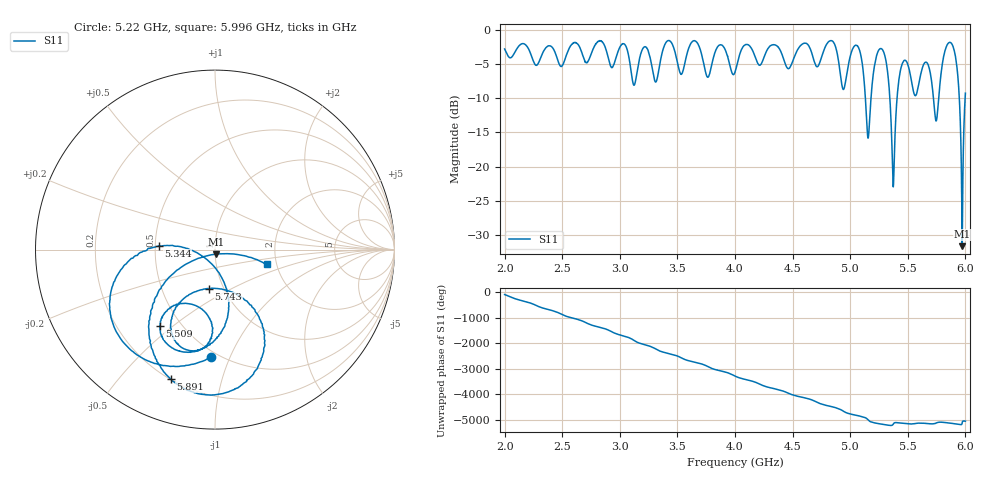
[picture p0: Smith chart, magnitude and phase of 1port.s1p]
# HZ S RI R 50
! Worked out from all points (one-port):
!   4040 points, 2 GHz to 6 GHz, reference 50 ohm
!   lowest |S11| = -31.6 dB at 5.972 GHz (marker M1), VSWR 1.05, Z = 50.4 - j2.61 ohm
!   |S11| at or under -10 dB: 5.132 GHz to 5.181 GHz (48.69 MHz wide, 0.944 % of centre); 5.344 GHz to 5.407 GHz (62.29 MHz wide, 1.16 % of centre); 5.947 GHz to 5.997 GHz (50.16 MHz wide, 0.84 % of centre)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
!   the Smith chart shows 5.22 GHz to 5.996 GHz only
!   S11 on the Smith chart (normalised r, x): 5.22 GHz: 0.46, -0.85; 5.344 GHz: 0.52, +0.02; 5.509 GHz: 0.38, -0.45; 5.743 GHz: 0.85, -0.39; 5.891 GHz: 0.20, -0.69; 5.996 GHz: 1.77, -0.32
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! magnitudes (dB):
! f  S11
! 2 GHz  -2.8
! 2.5 GHz  -5.3
! 3 GHz  -2.5
! 3.123 GHz  -8.1
! 3.213 GHz  -2.5
! 3.309 GHz  -7.6
! 3.5 GHz  -4.8
! 4 GHz  -6.2
! 4.501 GHz  -4.6
! 4.841 GHz  -1.6
! 4.941 GHz  -8.7
! 5.001 GHz  -3.8
! 5.085 GHz  -3.2
! 5.155 GHz  -15.8
! 5.22 GHz  -4.4
! 5.293 GHz  -3.3
! 5.344 GHz  -10.0
! 5.376 GHz  -22.5
! 5.432 GHz  -6.3
! 5.501 GHz  -5.1
! 5.509 GHz  -5.6
! 5.67 GHz  -4.9
! 5.743 GHz  -13.2
! 5.891 GHz  -2.4
! 5.933 GHz  -6.4
! 5.972 GHz  -31.6
! 5.996 GHz  -10.5
! 6 GHz  -9.3
